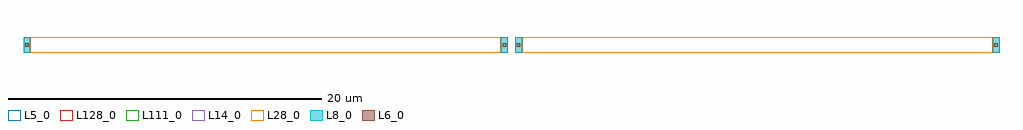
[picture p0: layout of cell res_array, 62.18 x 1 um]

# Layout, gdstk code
import gdstk
lib = gdstk.Library(unit=1e-6, precision=1e-09)
def R(c, l, rs):  # rectangles x0, y0, x1, y1
    for r in rs: c.add(gdstk.rectangle(r[:2], r[2:], *l))
L5_0 = (5, 0)
L6_0 = (6, 0)
L8_0 = (8, 0)
L14_0 = (14, 0)
L28_0 = (28, 0)
L111_0 = (111, 0)
L128_0 = (128, 0)

res_array = lib.new_cell('res_array')
R(res_array, L5_0, [(0,0,30.84,1), (31.34,0,62.18,1)])
R(res_array, L6_0, [(0.1,0.39,0.32,0.61), (30.52,0.39,30.74,0.61), (31.44,0.39,31.66,0.61), (61.86,0.39,62.08,0.61)])
R(res_array, L8_0, [(0,0,0.42,1), (30.42,0,30.84,1), (31.34,0,31.76,1), (61.76,0,62.18,1)])
R(res_array, L14_0, [(0.42,0,30.42,1), (31.76,0,61.76,1)])
R(res_array, L28_0, [(0.42,0,30.42,1), (31.76,0,61.76,1)])
R(res_array, L111_0, [(0.42,0,30.42,1), (31.76,0,61.76,1)])
R(res_array, L128_0, [(0.42,0,30.42,1), (31.76,0,61.76,1)])

lib.write_gds('res_array.gds')
